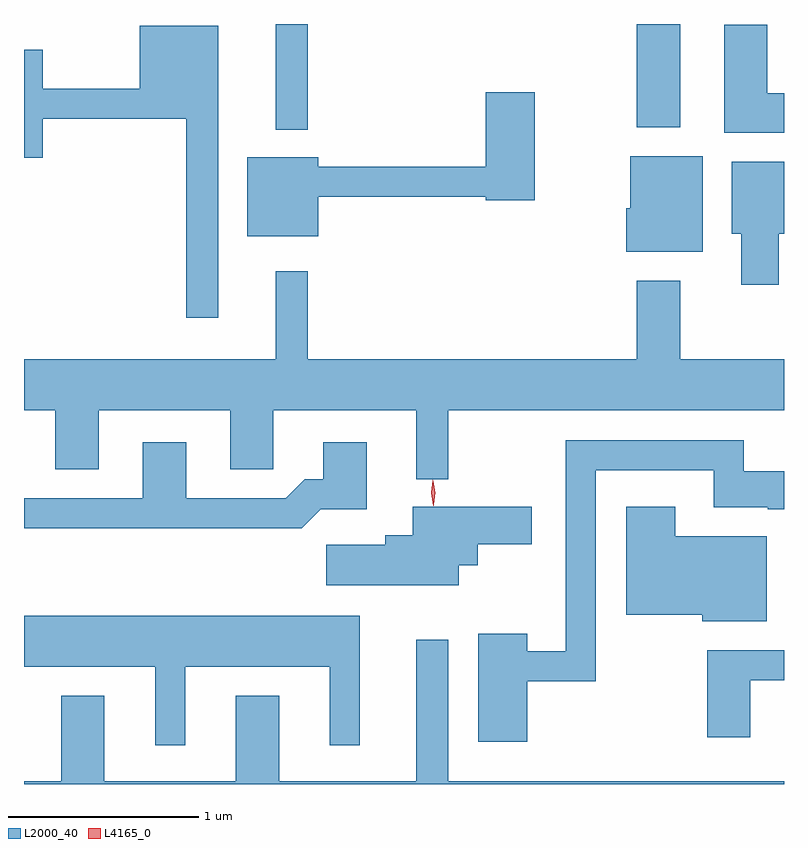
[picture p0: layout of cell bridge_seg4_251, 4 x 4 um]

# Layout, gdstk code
import gdstk
lib = gdstk.Library(unit=1e-6, precision=1e-09)
def R(c, l, rs):  # rectangles x0, y0, x1, y1
    for r in rs: c.add(gdstk.rectangle(r[:2], r[2:], *l))
def P(c, l, *ps):  # polygons
    for p in ps: c.add(gdstk.Polygon(p, *l))
L2000_40 = (2000, 40)
L4165_0 = (4165, 0)

bridge_seg4_251 = lib.new_cell('bridge_seg4_251')
R(bridge_seg4_251, L2000_40, [(700.341,1340.613,700.509,1341.169), (702.241,1340.626,702.469,1341.169)])
P(bridge_seg4_251, L2000_40, [(703.016,1340.804),(702.929,1340.804),(702.929,1341.164),(702.701,1341.164),(702.701,1340.596),(703.016,1340.596)],
  [(700.039,1341.159),(699.626,1341.159),(699.626,1340.829),(699.114,1340.829),(699.114,1341.034),(699.016,1341.034),(699.016,1340.466),(699.114,1340.466),(699.114,1340.671),(699.871,1340.671),(699.871,1339.623),(700.039,1339.623)],
  [(700.564,1340.261),(701.446,1340.261),(701.446,1340.241),(701.704,1340.241),(701.704,1340.809),(701.446,1340.809),(701.446,1340.419),(700.564,1340.419),(700.564,1340.469),(700.191,1340.469),(700.191,1340.051),(700.564,1340.051)],
  [(702.589,1340.474),(702.206,1340.474),(702.206,1340.199),(702.186,1340.199),(702.186,1339.971),(702.589,1339.971)],
  [(702.989,1340.066),(703.016,1340.066),(703.016,1340.444),(702.741,1340.444),(702.741,1340.066),(702.791,1340.066),(702.791,1339.796),(702.989,1339.796)],
  [(701.249,1339.136),(703.016,1339.136),(703.016,1339.404),(702.469,1339.404),(702.469,1339.819),(702.241,1339.819),(702.241,1339.404),(700.509,1339.404),(700.509,1339.868),(700.341,1339.868),(700.341,1339.404),(699.016,1339.404),(699.016,1339.136),(699.181,1339.136),(699.181,1338.826),(699.409,1338.826),(699.409,1339.136),(700.101,1339.136),(700.101,1338.826),(700.329,1338.826),(700.329,1339.136),(701.081,1339.136),(701.081,1338.773),(701.249,1338.773)],
  [(701.664,1337.711),(702.024,1337.711),(702.024,1338.821),(702.646,1338.821),(702.646,1338.626),(702.93,1338.626),(702.93,1338.616),(703.016,1338.616),(703.016,1338.814),(702.804,1338.814),(702.804,1338.979),(701.866,1338.979),(701.866,1337.869),(701.664,1337.869),(701.664,1337.959),(701.406,1337.959),(701.406,1337.391),(701.664,1337.391)],
  [(700.577,1338.616),(700.819,1338.616),(700.819,1338.969),(700.591,1338.969),(700.591,1338.774),(700.494,1338.774),(700.394,1338.674),(699.869,1338.674),(699.869,1338.969),(699.641,1338.969),(699.641,1338.674),(699.016,1338.674),(699.016,1338.516),(700.477,1338.516)],
  [(702.924,1338.474),(702.444,1338.474),(702.444,1338.629),(702.186,1338.629),(702.186,1338.061),(702.586,1338.061),(702.586,1338.026),(702.924,1338.026)],
  [(701.304,1338.321),(701.404,1338.321),(701.404,1338.431),(701.689,1338.431),(701.689,1338.629),(701.061,1338.629),(701.061,1338.479),(700.916,1338.479),(700.916,1338.429),(700.606,1338.429),(700.606,1338.216),(701.304,1338.216)],
  [(699.864,1337.786),(700.626,1337.786),(700.626,1337.373),(700.784,1337.373),(700.784,1338.054),(699.016,1338.054),(699.016,1337.786),(699.706,1337.786),(699.706,1337.373),(699.864,1337.373)],
  [(703.016,1337.184),(701.249,1337.184),(701.249,1337.928),(701.081,1337.928),(701.081,1337.184),(700.359,1337.184),(700.359,1337.634),(700.131,1337.634),(700.131,1337.184),(699.439,1337.184),(699.439,1337.634),(699.211,1337.634),(699.211,1337.184),(699.016,1337.184),(699.016,1337.169),(703.016,1337.169)],
  [(702.839,1337.716),(703.016,1337.716),(703.016,1337.874),(702.611,1337.874),(702.611,1337.416),(702.839,1337.416)])
P(bridge_seg4_251, L4165_0, [(701.171,1338.634),(701.159,1338.701),(701.166,1338.769),(701.166,1338.77),(701.167,1338.769),(701.179,1338.702),(701.172,1338.634),(701.172,1338.634)],
  [(701.171,1338.639),(701.17,1338.64),(701.16,1338.702),(701.169,1338.766),(701.169,1338.766),(701.17,1338.766),(701.18,1338.703),(701.172,1338.64)])

lib.write_gds('bridge_seg4_251.gds')
